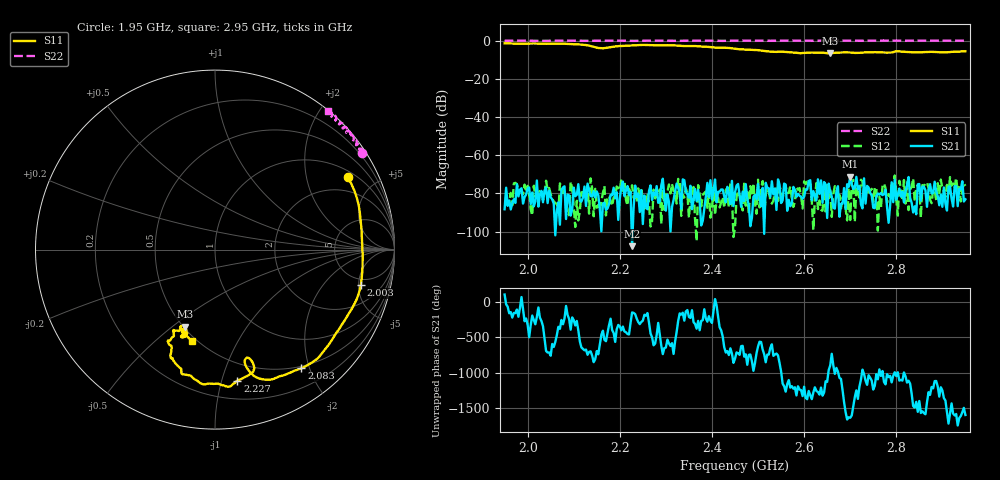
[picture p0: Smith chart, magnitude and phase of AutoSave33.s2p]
!Agilent N9923A: A.07.32
!Date: Thursday, 02 June 2016 23:00:20
!Model: N9923A
!Serial: MY52412257
!GPS Latitude:
!GPS Longitude:
!GPS TimeStamp: 0001-01-01 00:00:00Z
!GPS Seconds Since Last Read: 0
!CHECKSUM:0699048533
!Correction: S11(ON U)S21(ON U)S12(ON U)S22(ON U)
!S2P File: Measurements:S11,S21,S12,S22:
# Hz S DB R 50
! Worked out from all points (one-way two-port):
!   301 points, 1.95 GHz to 2.95 GHz, reference 50 ohm
!   highest |S21| = -71.19 dB at 2.7 GHz (marker M1); lowest = -107.6 dB at 2.227 GHz (marker M2)
!   lowest |S11| = -6.7 dB at 2.657 GHz (marker M3), VSWR 2.72, Z = 25.3 - j27.7 ohm
!   |S11| at or under -10 dB: nowhere
!   |S22| runs from -0.2 to 0.0 dB; largest |S21 - S12| = 0.00038
!   S11 on the Smith chart (normalised r, x): 1.95 GHz: 1.26, +3.52; 2.003 GHz: 4.09, -5.33; 2.083 GHz: 0.47, -1.87; 2.227 GHz: 0.35, -1.12; 2.95 GHz: 0.48, -0.66
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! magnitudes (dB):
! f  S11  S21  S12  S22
! 1.95 GHz  -1.5  -88.3  -84.5  -0.2
! 2.003 GHz  -1.6  -76.9  -78.9  -0.1
! 2.083 GHz  -1.7  -93.4  -88.1  -0.1
! 2.12 GHz  -2.2  -82.2  -79.4  -0.2
! 2.227 GHz  -2.6  -107.6  -75.7  -0.2
! 2.287 GHz  -2.5  -84.3  -78.0  -0.1
! 2.293 GHz  -2.5  -72.3  -74.5  -0.1
! 2.297 GHz  -2.5  -81.9  -88.5  -0.1
! 2.327 GHz  -2.7  -77.1  -72.4  -0.2
! 2.333 GHz  -2.8  -88.0  -91.7  -0.2
! 2.337 GHz  -2.9  -72.6  -80.5  -0.2
! 2.453 GHz  -4.5  -75.9  -81.9  -0.1
! 2.5 GHz  -5.0  -75.1  -72.8  -0.1
! 2.62 GHz  -6.3  -78.8  -99.1  -0.2
! 2.657 GHz  -6.7  -79.0  -77.5  0.0
! 2.7 GHz  -6.2  -71.2  -93.9  -0.1
! 2.783 GHz  -6.3  -95.3  -80.3  0.0
! 2.797 GHz  -5.8  -72.8  -70.6  -0.1
! 2.8 GHz  -5.6  -83.3  -82.9  -0.1
! 2.827 GHz  -6.1  -71.4  -88.7  -0.1
! 2.83 GHz  -6.1  -82.3  -78.0  -0.1
! 2.95 GHz  -5.6  -83.1  -76.0  0.0
